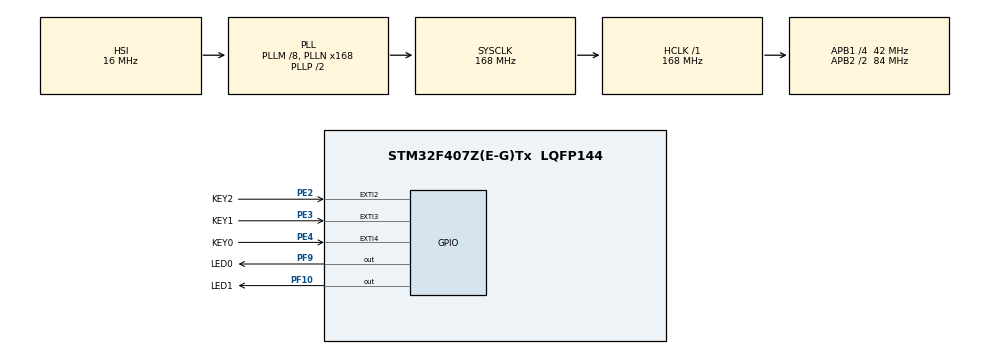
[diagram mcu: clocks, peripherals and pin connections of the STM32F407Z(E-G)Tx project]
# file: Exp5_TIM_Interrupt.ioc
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Mcu.Family=STM32F4
Mcu.Name=STM32F407Z(E-G)Tx
Mcu.Package=LQFP144
NVIC.EXTI2_IRQn=true\:2\:0\:true\:false\:true\:true\:true\:true
NVIC.EXTI3_IRQn=true\:3\:0\:true\:false\:true\:true\:true\:true
NVIC.EXTI4_IRQn=true\:3\:0\:true\:false\:true\:true\:true\:true
NVIC.PriorityGroup=NVIC_PRIORITYGROUP_4
NVIC.TIM3_IRQn=true\:1\:0\:true\:false\:true\:true\:true\:true
PA13.Mode=Serial_Wire
PA13.Signal=SYS_JTMS-SWDIO
PA14.Mode=Serial_Wire
PA14.Signal=SYS_JTCK-SWCLK
PE2.GPIO_Label=KEY2
PE2.GPIO_ModeDefaultEXTI=GPIO_MODE_IT_FALLING
PE2.GPIO_PuPd=GPIO_PULLUP
PE2.Signal=GPXTI2
PE3.GPIO_Label=KEY1
PE3.GPIO_ModeDefaultEXTI=GPIO_MODE_IT_FALLING
PE3.GPIO_PuPd=GPIO_PULLUP
PE3.Signal=GPXTI3
PE4.GPIO_Label=KEY0
PE4.GPIO_ModeDefaultEXTI=GPIO_MODE_IT_FALLING
PE4.GPIO_PuPd=GPIO_PULLUP
PE4.Signal=GPXTI4
PF10.GPIO_Label=LED1
PF10.PinState=GPIO_PIN_SET
PF10.Signal=GPIO_Output
PF9.GPIO_Label=LED0
PF9.PinState=GPIO_PIN_SET
PF9.Signal=GPIO_Output
PH0-OSC_IN.Mode=HSE-External-Oscillator
PH0-OSC_IN.Signal=RCC_OSC_IN
PH1-OSC_OUT.Mode=HSE-External-Oscillator
PH1-OSC_OUT.Signal=RCC_OSC_OUT
ProjectManager.HeapSize=0x200
ProjectManager.StackSize=0x400
ProjectManager.TargetToolchain=CMake
RCC.48MHZClocksFreq_Value=84000000
RCC.AHBFreq_Value=168000000
RCC.APB1CLKDivider=RCC_HCLK_DIV4
RCC.APB1Freq_Value=42000000
RCC.APB1TimFreq_Value=84000000
RCC.APB2CLKDivider=RCC_HCLK_DIV2
RCC.APB2Freq_Value=84000000
RCC.APB2TimFreq_Value=168000000
RCC.CortexFreq_Value=168000000
RCC.HCLKFreq_Value=168000000
RCC.HSE_VALUE=25000000
RCC.HSI_VALUE=16000000
RCC.LSE_VALUE=32768
RCC.PLLM=8
RCC.PLLN=168
RCC.SYSCLKFreq_VALUE=168000000
RCC.SYSCLKSource=RCC_SYSCLKSOURCE_PLLCLK
RCC.VCOOutputFreq_Value=336000000
TIM3.Period=4999
TIM3.Prescaler=8399
VP_TIM3_VS_ClockSourceINT.Mode=Internal
board=custom

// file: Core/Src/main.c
/* USER CODE BEGIN Header */
/**
  ******************************************************************************
  * @file           : main.c
  * @brief          : Main program body
  ******************************************************************************
  * @attention
  *
  * Copyright (c) 2026 STMicroelectronics.
  * All rights reserved.
  *
  * This software is licensed under terms that can be found in the LICENSE file
  * in the root directory of this software component.
  * If no LICENSE file comes with this software, it is provided AS-IS.
  *
  ******************************************************************************
  */
/* USER CODE END Header */
#include "main.h"

TIM_HandleTypeDef htim3;

/* USER CODE BEGIN PV */
uint8_t pause_mode = 0;
uint8_t led0_state = 0;
uint8_t led1_state = 0;
uint8_t led0_is_running = 0;
uint8_t led1_is_running = 0;
static uint32_t last_key_tick = 0;
/* USER CODE END PV */

void SystemClock_Config(void);
static void MX_GPIO_Init(void);
static void MX_TIM3_Init(void);

int main(void)
{

  /* MCU Configuration--------------------------------------------------------*/

  /* Reset of all peripherals, Initializes the Flash interface and the Systick. */
  HAL_Init();

  /* Configure the system clock */
  SystemClock_Config();

  /* Initialize all configured peripherals */
  MX_GPIO_Init();
  MX_TIM3_Init();
  /* USER CODE BEGIN 2 */

  // Stat timer 3
  HAL_TIM_Base_Start_IT(&htim3);

  /* USER CODE END 2 */

  /* Infinite loop */
  while (1)
  {

  }
}

void SystemClock_Config(void)
{
  RCC_OscInitTypeDef RCC_OscInitStruct = {0};
  RCC_ClkInitTypeDef RCC_ClkInitStruct = {0};

  /** Configure the main internal regulator output voltage
  */
  __HAL_RCC_PWR_CLK_ENABLE();
  __HAL_PWR_VOLTAGESCALING_CONFIG(PWR_REGULATOR_VOLTAGE_SCALE1);

  /** Initializes the RCC Oscillators according to the specified parameters
  * in the RCC_OscInitTypeDef structure.
  */
  RCC_OscInitStruct.OscillatorType = RCC_OSCILLATORTYPE_HSI;
  RCC_OscInitStruct.HSIState = RCC_HSI_ON;
  RCC_OscInitStruct.HSICalibrationValue = RCC_HSICALIBRATION_DEFAULT;
  RCC_OscInitStruct.PLL.PLLState = RCC_PLL_ON;
  RCC_OscInitStruct.PLL.PLLSource = RCC_PLLSOURCE_HSI;
  RCC_OscInitStruct.PLL.PLLM = 8;
  RCC_OscInitStruct.PLL.PLLN = 168;
  RCC_OscInitStruct.PLL.PLLP = RCC_PLLP_DIV2;
  RCC_OscInitStruct.PLL.PLLQ = 4;
  if (HAL_RCC_OscConfig(&RCC_OscInitStruct) != HAL_OK)
  {
    Error_Handler();
  }

  /** Initializes the CPU, AHB and APB buses clocks
  */
  RCC_ClkInitStruct.ClockType = RCC_CLOCKTYPE_HCLK|RCC_CLOCKTYPE_SYSCLK
                              |RCC_CLOCKTYPE_PCLK1|RCC_CLOCKTYPE_PCLK2;
  RCC_ClkInitStruct.SYSCLKSource = RCC_SYSCLKSOURCE_PLLCLK;
  RCC_ClkInitStruct.AHBCLKDivider = RCC_SYSCLK_DIV1;
  RCC_ClkInitStruct.APB1CLKDivider = RCC_HCLK_DIV4;
  RCC_ClkInitStruct.APB2CLKDivider = RCC_HCLK_DIV2;

  if (HAL_RCC_ClockConfig(&RCC_ClkInitStruct, FLASH_LATENCY_5) != HAL_OK)
  {
    Error_Handler();
  }
}

static void MX_TIM3_Init(void)
{

  TIM_ClockConfigTypeDef sClockSourceConfig = {0};
  TIM_MasterConfigTypeDef sMasterConfig = {0};

  htim3.Instance = TIM3;
  htim3.Init.Prescaler = 8399;
  htim3.Init.CounterMode = TIM_COUNTERMODE_UP;
  htim3.Init.Period = 4999;
  htim3.Init.ClockDivision = TIM_CLOCKDIVISION_DIV1;
  htim3.Init.AutoReloadPreload = TIM_AUTORELOAD_PRELOAD_DISABLE;
  if (HAL_TIM_Base_Init(&htim3) != HAL_OK)
  {
    Error_Handler();
  }
  sClockSourceConfig.ClockSource = TIM_CLOCKSOURCE_INTERNAL;
  if (HAL_TIM_ConfigClockSource(&htim3, &sClockSourceConfig) != HAL_OK)
  {
    Error_Handler();
  }
  sMasterConfig.MasterOutputTrigger = TIM_TRGO_RESET;
  sMasterConfig.MasterSlaveMode = TIM_MASTERSLAVEMODE_DISABLE;
  if (HAL_TIMEx_MasterConfigSynchronization(&htim3, &sMasterConfig) != HAL_OK)
  {
    Error_Handler();
  }

}

static void MX_GPIO_Init(void)
{
  GPIO_InitTypeDef GPIO_InitStruct = {0};

  /* GPIO Ports Clock Enable */
  __HAL_RCC_GPIOE_CLK_ENABLE();
  __HAL_RCC_GPIOF_CLK_ENABLE();
  __HAL_RCC_GPIOH_CLK_ENABLE();
  __HAL_RCC_GPIOA_CLK_ENABLE();

  /*Configure GPIO pin Output Level */
  HAL_GPIO_WritePin(GPIOF, LED0_Pin|LED1_Pin, GPIO_PIN_SET);

  /*Configure GPIO pins : KEY2_Pin KEY1_Pin KEY0_Pin */
  GPIO_InitStruct.Pin = KEY2_Pin|KEY1_Pin|KEY0_Pin;
  GPIO_InitStruct.Mode = GPIO_MODE_IT_FALLING;
  GPIO_InitStruct.Pull = GPIO_PULLUP;
  HAL_GPIO_Init(GPIOE, &GPIO_InitStruct);

  /*Configure GPIO pins : LED0_Pin LED1_Pin */
  GPIO_InitStruct.Pin = LED0_Pin|LED1_Pin;
  GPIO_InitStruct.Mode = GPIO_MODE_OUTPUT_PP;
  GPIO_InitStruct.Pull = GPIO_NOPULL;
  GPIO_InitStruct.Speed = GPIO_SPEED_FREQ_LOW;
  HAL_GPIO_Init(GPIOF, &GPIO_InitStruct);

  /* EXTI interrupt init*/
  HAL_NVIC_SetPriority(EXTI2_IRQn, 2, 0);
  HAL_NVIC_EnableIRQ(EXTI2_IRQn);

  HAL_NVIC_SetPriority(EXTI3_IRQn, 3, 0);
  HAL_NVIC_EnableIRQ(EXTI3_IRQn);

  HAL_NVIC_SetPriority(EXTI4_IRQn, 3, 0);
  HAL_NVIC_EnableIRQ(EXTI4_IRQn);

}

/* USER CODE BEGIN 4 */
void HAL_GPIO_EXTI_Callback(uint16_t GPIO_Pin) {
  uint32_t now = HAL_GetTick();
  if ((now - last_key_tick) < 200) return;
  last_key_tick = now;

  switch (GPIO_Pin) {
    case KEY0_Pin:
      if (pause_mode) return;
      led0_is_running = !led0_is_running;
      if (!led0_is_running) {
        led0_state = 0;
        HAL_GPIO_WritePin(LED0_GPIO_Port, LED0_Pin, GPIO_PIN_SET);
      }
      break;

    case KEY1_Pin:
      if (pause_mode) return;
      led1_is_running = !led1_is_running;
      if (!led1_is_running) {
        led1_state = 0;
        HAL_GPIO_WritePin(LED1_GPIO_Port, LED1_Pin, GPIO_PIN_SET);
      }
      break;

    case KEY2_Pin:
      pause_mode = !pause_mode;
      if (led0_is_running) HAL_GPIO_WritePin(LED0_GPIO_Port, LED0_Pin, GPIO_PIN_RESET);
      if (led1_is_running) HAL_GPIO_WritePin(LED1_GPIO_Port, LED1_Pin, GPIO_PIN_RESET);
      break;
  }
}

void HAL_TIM_PeriodElapsedCallback(TIM_HandleTypeDef *htim) {
  if (htim->Instance == TIM3) {
    if (!pause_mode) {
      static uint8_t tick = 0;
      tick = !tick;

      if (led0_is_running) {
        led0_state = !tick;
        HAL_GPIO_WritePin(LED0_GPIO_Port, LED0_Pin,
                          led0_state ? GPIO_PIN_RESET : GPIO_PIN_SET);
      }
      if (led1_is_running) {
        led1_state = tick;
        HAL_GPIO_WritePin(LED1_GPIO_Port, LED1_Pin,
                          led1_state ? GPIO_PIN_RESET : GPIO_PIN_SET);
      }
    }
  }
}
/* USER CODE END 4 */

void Error_Handler(void)
{
  __disable_irq();
  while (1)
  {
  }
}
